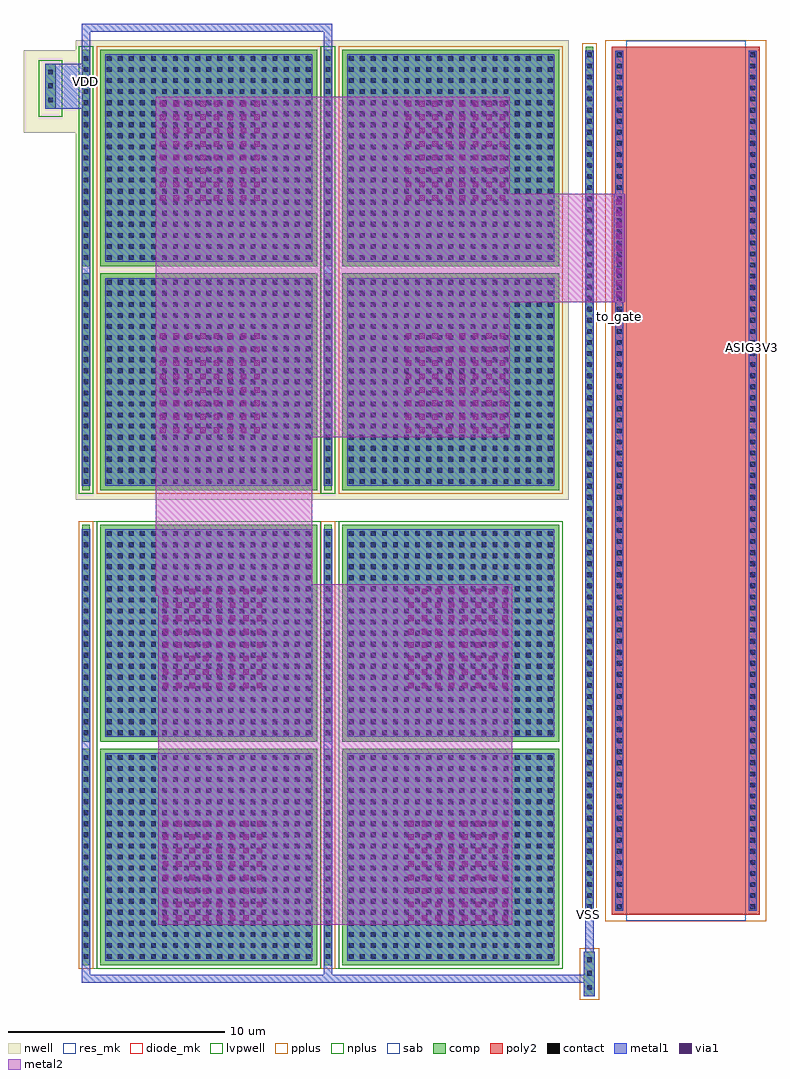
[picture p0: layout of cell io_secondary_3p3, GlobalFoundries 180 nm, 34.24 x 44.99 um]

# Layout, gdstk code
from math import pi, radians
import gdstk
lib = gdstk.Library(unit=1e-6, precision=1e-09)
def R(c, l, rs):  # rectangles x0, y0, x1, y1
    for r in rs: c.add(gdstk.rectangle(r[:2], r[2:], *l))
def A(c, l, x, y, w, h, nx, ny, dx, dy):  # array of equal rectangles
    R(c, l, [(x+i*dx, y+j*dy, x+i*dx+w, y+j*dy+h) for i in range(nx) for j in range(ny)])
def P(c, l, *ps):  # polygons
    for p in ps: c.add(gdstk.Polygon(p, *l))
nwell = (21, 0)
comp = (22, 0)
poly2 = (30, 0)
pplus = (31, 0)
nplus = (32, 0)
contact = (33, 0)
metal1 = (34, 0)
via1 = (35, 0)
metal2 = (36, 0)
sab = (49, 0)
res_mk = (110, 5)
diode_mk = (115, 5)
lvpwell = (204, 0)

diode_pd2nw = lib.new_cell('diode_pd2nw')
R(diode_pd2nw, nwell, [(-1.12,-0.43,10.43,10.43)])
R(diode_pd2nw, comp, [(-0.84,0,-0.48,10), (0,0,10,10)])
R(diode_pd2nw, pplus, [(-0.16,-0.16,10.16,10.16)])
R(diode_pd2nw, nplus, [(-1,-0.16,-0.32,10.16)])
A(diode_pd2nw, contact, -0.77, 0.3, 0.22, 0.22, 1, 19, 0, 0.51)
A(diode_pd2nw, contact, 0.3, 0.3, 0.22, 0.22, 19, 19, 0.51, 0.51)
R(diode_pd2nw, metal1, [(-0.85,0.22,-0.47,9.78), (0.22,0.22,9.78,9.78)])
R(diode_pd2nw, diode_mk, [(0,0,10,10)])

via_dev = lib.new_cell('via_dev')
R(via_dev, metal1, [(0,0,5,5)])
A(via_dev, via1, 0.2, 0.2, 0.26, 0.26, 8, 8, 0.62, 0.62)
R(via_dev, metal2, [(0,0,5,5)])

ppolyf_u_resistor = lib.new_cell('ppolyf_u_resistor')
R(ppolyf_u_resistor, comp, [(-1.88,0,-1.52,40)])
R(ppolyf_u_resistor, poly2, [(-0.66,0,6.16,40)])
R(ppolyf_u_resistor, pplus, [(-0.96,-0.3,6.46,40.3), (-2.04,-0.16,-1.36,40.16)])
A(ppolyf_u_resistor, contact, -1.81, 0.255, 0.22, 0.22, 1, 78, 0, 0.51)
A(ppolyf_u_resistor, contact, -0.44, 0.255, 0.22, 0.22, 1, 78, 0, 0.51)
A(ppolyf_u_resistor, contact, 5.72, 0.255, 0.22, 0.22, 1, 78, 0, 0.51)
R(ppolyf_u_resistor, metal1, [(-1.89,0.175,-1.51,39.825), (-0.52,0.175,-0.14,39.825), (5.64,0.175,6.02,39.825)])
R(ppolyf_u_resistor, sab, [(0,-0.28,5.5,40.28)])
R(ppolyf_u_resistor, res_mk, [(0,0,5.5,40)])

diode_nd2ps = lib.new_cell('diode_nd2ps')
R(diode_nd2ps, comp, [(-0.84,0,-0.48,10), (0,0,10,10)])
R(diode_nd2ps, pplus, [(-1,-0.16,-0.32,10.16)])
R(diode_nd2ps, nplus, [(-0.16,-0.16,10.16,10.16)])
A(diode_nd2ps, contact, -0.77, 0.3, 0.22, 0.22, 1, 19, 0, 0.51)
A(diode_nd2ps, contact, 0.3, 0.3, 0.22, 0.22, 19, 19, 0.51, 0.51)
R(diode_nd2ps, metal1, [(-0.85,0.22,-0.47,9.78), (0.22,0.22,9.78,9.78)])
R(diode_nd2ps, diode_mk, [(-1,-0.16,10.16,10.16)])
R(diode_nd2ps, lvpwell, [(-1,-0.16,10.16,10.16)])

via_dev_2 = lib.new_cell('via_dev$2')
R(via_dev_2, metal1, [(0,0,5,0.5)])
A(via_dev_2, via1, 0.25, 0.12, 0.26, 0.26, 9, 1, 0.53, 0)
R(via_dev_2, metal2, [(0,0,5,0.5)])

io_secondary_3p3 = lib.new_cell('io_secondary_3p3')
R(io_secondary_3p3, nwell, [(68.47,0.435,70.885,4.245)])
R(io_secondary_3p3, pplus, [(94.105,-39.525,95.02,-37.17)])
R(io_secondary_3p3, nplus, [(69.17,1.18,70.26,3.775)])
R(io_secondary_3p3, contact, [(94.445,-39.085,94.665,-38.865), (94.445,-38.43,94.665,-38.21), (94.445,-37.8,94.665,-37.58), (69.6,1.835,69.82,2.055), (69.6,2.49,69.82,2.71), (69.6,3.12,69.82,3.34)])
R(io_secondary_3p3, metal1, [(94.305,-39.375,94.805,-38.64), (71.155,-38.745,82.695,-38.375), (82.285,-38.745,94.805,-38.375), (71.155,-28.335,71.535,-27.23), (82.315,-28.335,82.695,-27.23), (71.155,-6.34,71.535,-5.415), (82.315,-6.34,82.695,-5.415), (69.46,1.545,71.535,3.605), (71.155,3.57,71.534,4.39), (71.155,5.1,82.695,5.47)])
P(io_secondary_3p3, metal1, [(82.315,3.87),(82.315,5.47),(82.39,5.47),(82.695,5.47),(82.695,3.87),(82.54,3.87)],
  [(69.46,1.55),(69.46,3.61),(69.96,3.61),(69.96,1.55),(69.805,1.55)],
  [(94.365,-37.975),(94.365,-35.065),(94.745,-35.065),(94.745,-37.975),(94.57,-37.975)],
  [(94.305,-38.64),(94.305,-37.315),(94.805,-37.315),(94.805,-38.64),(94.63,-38.64)],
  [(71.155,4.02),(71.155,5.47),(71.23,5.47),(71.535,5.47),(71.535,4.02),(71.49,4.02)],
  [(71.155,-38.745),(71.155,-37.425),(71.535,-37.425),(71.535,-38.745),(71.46,-38.745)],
  [(82.315,-38.745),(82.315,-37.425),(82.695,-37.425),(82.695,-38.745),(82.62,-38.745)])
R(io_secondary_3p3, metal2, [(74.675,-36.09,91,-20.38), (74.555,-20.91,81.785,-13.22), (74.555,-13.61,90.88,2.1), (88.675,-7.38,96.18,-2.38)])
io_secondary_3p3.add(gdstk.FlexPath([(69.71,3.61),(69.71,1.55)], 0.5, ends="flush", simple_path=True, layer=22, datatype=0))  # comp
io_secondary_3p3.add(gdstk.FlexPath([(94.555,-37.315),(94.555,-39.375)], 0.5, ends="flush", simple_path=True, layer=22, datatype=0))  # comp
io_secondary_3p3.add(gdstk.Reference(diode_pd2nw, (72.005,-5.73)))
io_secondary_3p3.add(gdstk.Reference(diode_pd2nw, (83.165,-5.73)))
io_secondary_3p3.add(gdstk.Reference(diode_pd2nw, (72.005,-16.05)))
io_secondary_3p3.add(gdstk.Reference(diode_pd2nw, (83.165,-16.05)))
io_secondary_3p3.add(gdstk.Reference(via_dev, (74.555,-2.9)))
io_secondary_3p3.add(gdstk.Reference(via_dev, (85.88,-2.9)))
io_secondary_3p3.add(gdstk.Reference(via_dev, (74.555,-13.61)))
io_secondary_3p3.add(gdstk.Reference(via_dev, (85.88,-13.61)))
io_secondary_3p3.add(gdstk.Reference(ppolyf_u_resistor, (96.255,-35.61)))
io_secondary_3p3.add(gdstk.Reference(diode_nd2ps, (72.005,-27.635)))
io_secondary_3p3.add(gdstk.Reference(diode_nd2ps, (83.165,-27.635)))
io_secondary_3p3.add(gdstk.Reference(diode_nd2ps, (72.005,-37.955)))
io_secondary_3p3.add(gdstk.Reference(diode_nd2ps, (83.165,-37.955)))
io_secondary_3p3.add(gdstk.Reference(via_dev, (74.675,-25.38)))
io_secondary_3p3.add(gdstk.Reference(via_dev, (86,-25.38)))
io_secondary_3p3.add(gdstk.Reference(via_dev, (74.675,-36.09)))
io_secondary_3p3.add(gdstk.Reference(via_dev, (86,-36.09)))
io_secondary_3p3.add(gdstk.Reference(via_dev_2, (96.18,-7.38), rotation=pi/2))
io_secondary_3p3.add(gdstk.Label('ASIG3V3', (102.065,-9.45), layer=34, texttype=10))
io_secondary_3p3.add(gdstk.Label('to_gate', (95.925,-8.02), layer=34, texttype=10))
io_secondary_3p3.add(gdstk.Label('VDD', (71.315,2.775), layer=34, texttype=10))
io_secondary_3p3.add(gdstk.Label('VSS', (94.535,-35.615), layer=34, texttype=10))

lib.write_gds('io_secondary_3p3.gds')
